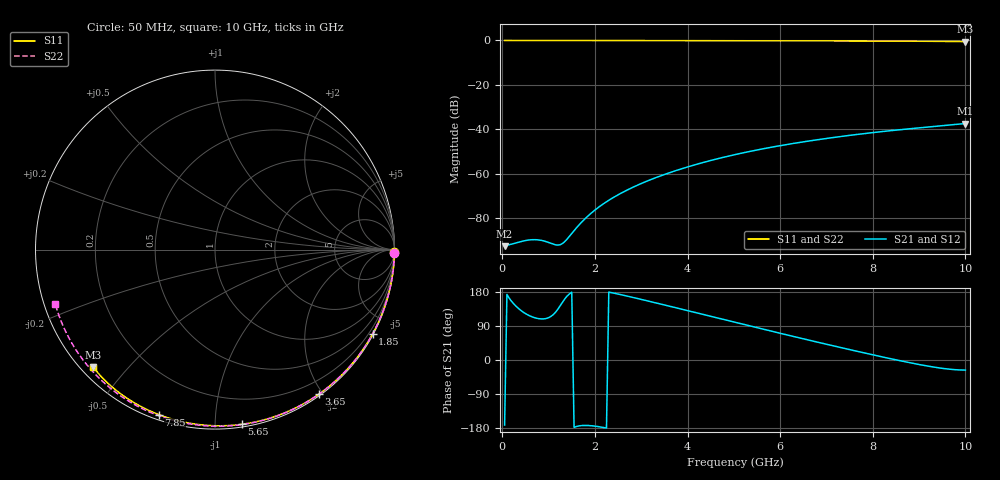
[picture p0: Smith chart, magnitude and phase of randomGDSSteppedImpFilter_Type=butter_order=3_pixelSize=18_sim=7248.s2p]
! freq	dB(S11)	phase(S11)	dB(S12)	phase(S12)
!  dB(S21)	phase(S21)	dB(S22)	phase(S22)
!S-par simulation data
#  GHz  S  DB  R 50
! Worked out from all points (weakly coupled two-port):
!   200 points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, 50 MHz to 10 GHz, reference 50 ohm
!   highest |S21| = -37.35 dB at 10 GHz (marker M1); lowest = -92.5 dB at 50 MHz (marker M2)
!   lowest |S11| = -0.5 dB at 10 GHz (marker M3), VSWR 34.03, Z = 1.71 - j20.2 ohm
!   |S11| at or under -10 dB: nowhere
!   |S22| runs from -0.5 to 0.0 dB; largest |S21 - S12| = 0
!   S11 on the Smith chart (normalised r, x): 50 MHz: open; 1.85 GHz: 0.03, -3.99; 3.65 GHz: 0.02, -1.95; 5.65 GHz: 0.02, -1.16; 7.85 GHz: 0.02, -0.72; 10 GHz: 0.03, -0.40
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0.05  -0.00 -0.8  -92.52 -171.6  -92.52 -171.6  -0.00 -0.9
0.45  -0.01 -6.9  -90.20 126.5  -90.20 126.5  -0.01 -8.5
0.85  -0.01 -13.1  -89.94 108.4  -89.94 108.4  -0.02 -16.0
1.3  -0.02 -19.9  -91.32 152.6  -91.32 152.6  -0.03 -24.3
1.75  -0.03 -26.6  -80.92 -172.7  -80.92 -172.7  -0.04 -32.5
1.8  -0.03 -27.4  -79.90 -172.6  -79.90 -172.6  -0.04 -33.4
1.85  -0.04 -28.1  -78.93 -172.8  -78.93 -172.8  -0.04 -34.3
2.15  -0.04 -32.6  -73.95 -177.4  -73.95 -177.4  -0.05 -39.7
2.5  -0.05 -37.7  -69.42 174.0  -69.42 174.0  -0.06 -45.9
2.9  -0.06 -43.6  -65.27 162.9  -65.27 162.9  -0.07 -52.9
3.4  -0.07 -50.7  -61.04 148.2  -61.04 148.2  -0.08 -61.5
3.65  -0.07 -54.2  -59.21 140.8  -59.21 140.8  -0.09 -65.7
4.3  -0.09 -63.3  -55.10 121.4  -55.10 121.4  -0.11 -76.5
5.05  -0.11 -73.4  -51.22 98.8  -51.22 98.8  -0.14 -88.5
5.65  -0.13 -81.3  -48.65 80.9  -48.65 80.9  -0.16 -97.8
6.15  -0.15 -87.7  -46.78 66.1  -46.78 66.1  -0.19 -105.3
6.7  -0.18 -94.7  -44.97 50.1  -44.97 50.1  -0.22 -113.5
7.25  -0.21 -101.5  -43.36 34.5  -43.36 34.5  -0.26 -121.5
7.85  -0.25 -108.8  -41.80 17.8  -41.80 17.8  -0.31 -130.2
8.35  -0.29 -114.9  -40.65 4.3  -40.65 4.3  -0.35 -137.4
9.25  -0.38 -125.9  -38.86 -17.4  -38.86 -17.4  -0.45 -150.2
10  -0.51 -136.0  -37.35 -26.6  -37.35 -26.6  -0.54 -161.1
